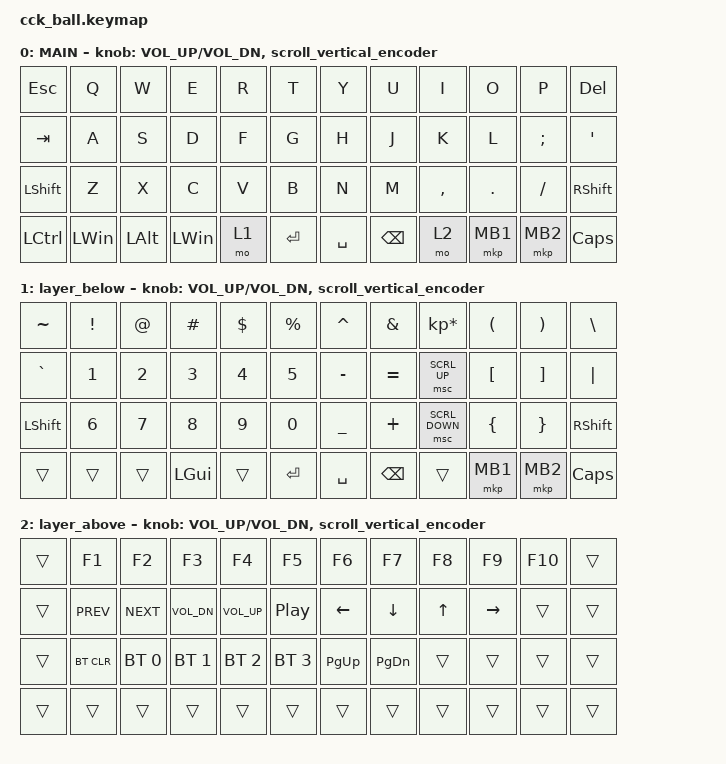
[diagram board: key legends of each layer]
#define ZMK_POINTING_DEFAULT_MOVE_VAL 1200 // 600
#define ZMK_POINTING_DEFAULT_SCRL_VAL 30   // 10

#include <input/processors.dtsi>
#include <zephyr/dt-bindings/input/input-event-codes.h>
#include <behaviors.dtsi>
#include <dt-bindings/zmk/bt.h>
#include <dt-bindings/zmk/keys.h>
#include <dt-bindings/zmk/pointing.h>

&mmv_input_listener { input-processors = <&zip_xy_scaler 2 1>; };

&msc_input_listener { input-processors = <&zip_scroll_scaler 2 1>; };

&msc {
    acceleration-exponent = <1>;      // changed from 0 to 1
    time-to-max-speed-ms = <70>;      // changed from 150 to 50 (faster ramp)
    delay-ms = <0>;
};

&mmv {
    time-to-max-speed-ms = <800>;
    acceleration-exponent = <1>;
    trigger-period-ms = <8>;
};

&soft_off { hold-time-ms = <2000>; };

/ {
    // 上下滚动编码器行为

    scroll_vertical_encoder: scroll_vertical_encoder {
        compatible = "zmk,behavior-sensor-rotate";
        #sensor-binding-cells = <0>;
        bindings = <&msc SCRL_UP>, <&msc SCRL_DOWN>;
        tap-ms = <10>;  // changed from 100 to 10
    };

    // 左右滚动编码器行为

    scroll_horizontal_encoder: scroll_horizontal_encoder {
        compatible = "zmk,behavior-sensor-rotate";
        #sensor-binding-cells = <0>;
        bindings = <&msc SCRL_LEFT>, <&msc SCRL_RIGHT>;

        tap-ms = <10>;
    };

    tp: tap_preferred {
        compatible = "zmk,behavior-hold-tap";
        label = "TAP_PREFERRED";
        bindings = <&kp>, <&kp>;

        #binding-cells = <2>;
        tapping-term-ms = <150>;
        quick-tap-ms = <0>;
        flavor = "tap-preferred";
    };

    behaviors {
    };

    keymap {
        compatible = "zmk,keymap";

        MAIN {
            bindings = <
&kp ESCAPE        &kp Q         &kp W         &kp E         &kp R  &kp T      &kp Y      &kp U          &kp I      &kp O     &kp P      &kp DEL
&kp TAB           &kp A         &kp S         &kp D         &kp F  &kp G      &kp H      &kp J          &kp K      &kp L     &kp SEMI   &kp SQT
&kp LEFT_SHIFT    &kp Z         &kp X         &kp C         &kp V  &kp B      &kp N      &kp M          &kp COMMA  &kp DOT   &kp SLASH  &kp RIGHT_SHIFT
&kp LEFT_CONTROL  &kp LEFT_WIN  &kp LEFT_ALT  &kp LEFT_WIN  &mo 1  &kp ENTER  &kp SPACE  &kp BACKSPACE  &mo 2      &mkp MB1  &mkp MB2   &kp CAPS
            >;

            sensor-bindings =
                <&inc_dec_kp C_VOL_UP C_VOL_DN>,
                <&scroll_vertical_encoder>;
        };

        layer_below {
            bindings = <
&kp TILDE  &kp EXCL  &kp AT  &kp HASH      &kp DLLR  &kp PRCNT  &kp CARET  &kp AMPS   &kp KP_MULTIPLY  &kp LPAR  &kp RPAR  &kp BSLH
&kp GRAVE  &kp N1    &kp N2  &kp N3        &kp N4    &kp N5     &kp MINUS  &kp EQUAL  &msc SCRL_UP     &kp LBKT  &kp RBKT  &kp PIPE
&kp LSHFT  &kp N6    &kp N7  &kp N8        &kp N9    &kp N0     &kp UNDER  &kp PLUS   &msc SCRL_DOWN   &kp LBRC  &kp RBRC  &kp RSHFT
&trans     &trans    &trans  &kp LEFT_GUI  &trans    &kp ENTER  &kp SPACE  &kp BSPC   &trans           &mkp MB1  &mkp MB2  &kp CAPS
            >;

            sensor-bindings =
                <&inc_dec_kp C_VOL_UP C_VOL_DN>,
                <&scroll_vertical_encoder>;
        };

        layer_above {
            bindings = <
&trans  &kp F1      &kp F2        &kp F3        &kp F4        &kp F5        &kp F6       &kp F7         &kp F8        &kp F9     &kp F10  &trans
&trans  &kp C_PREV  &kp C_NEXT    &kp C_VOL_DN  &kp C_VOL_UP  &kp C_PP      &kp LEFT     &kp DOWN       &kp UP_ARROW  &kp RIGHT  &trans   &trans
&trans  &bt BT_CLR  &bt BT_SEL 0  &bt BT_SEL 1  &bt BT_SEL 2  &bt BT_SEL 3  &kp PAGE_UP  &kp PAGE_DOWN  &trans        &trans     &trans   &trans
&trans  &trans      &trans        &trans        &trans        &trans        &trans       &trans         &trans        &trans     &trans   &trans
            >;

            sensor-bindings =
                <&inc_dec_kp C_VOL_UP C_VOL_DN>,
                <&scroll_vertical_encoder>;
        };
    };
};
